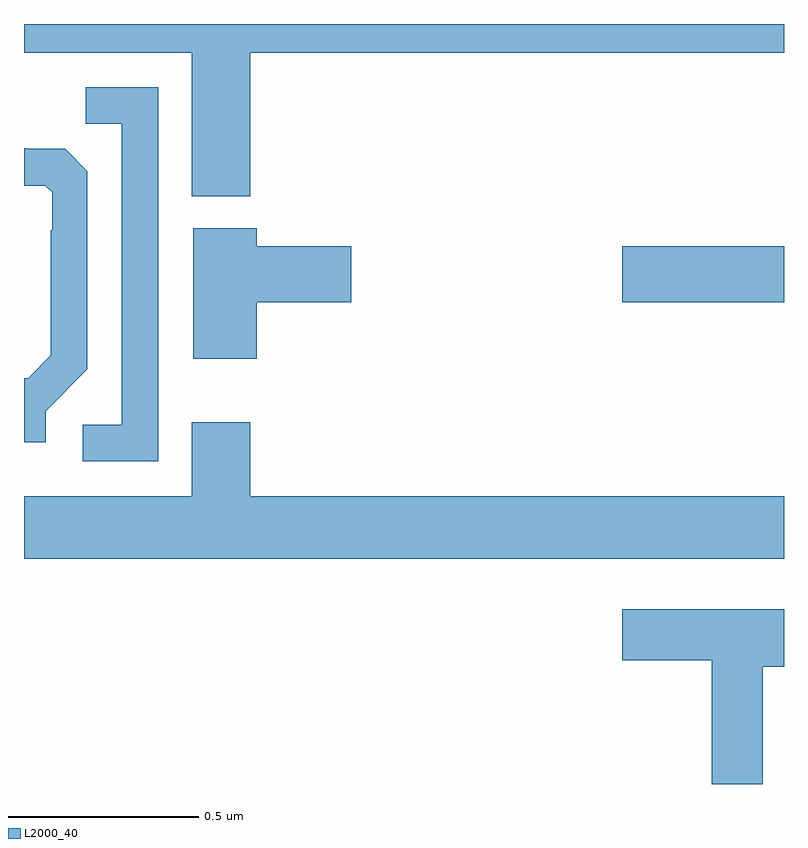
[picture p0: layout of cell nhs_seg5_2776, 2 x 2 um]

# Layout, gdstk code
import gdstk
lib = gdstk.Library(unit=1e-6, precision=1e-09)
def R(c, l, rs):  # rectangles x0, y0, x1, y1
    for r in rs: c.add(gdstk.rectangle(r[:2], r[2:], *l))
def P(c, l, *ps):  # polygons
    for p in ps: c.add(gdstk.Polygon(p, *l))
L2000_40 = (2000, 40)

nhs_seg5_2776 = lib.new_cell('nhs_seg5_2776')
R(nhs_seg5_2776, L2000_40, [(149.574,892.067,150,892.214)])
P(nhs_seg5_2776, L2000_40, [(148.595,892.724),(150,892.724),(150,892.799),(148,892.799),(148,892.724),(148.442,892.724),(148.442,892.346),(148.595,892.346)],
  [(148.353,892.632),(148.162,892.632),(148.162,892.537),(148.257,892.537),(148.257,891.744),(148.155,891.744),(148.155,891.648),(148.353,891.648)],
  [(148.057,891.78),(148.167,891.89),(148.167,892.412),(148.108,892.471),(148.007,892.471),(148.007,892.472),(148,892.472),(148,892.374),(148.056,892.374),(148.074,892.356),(148.074,892.256),(148.071,892.256),(148.071,891.927),(148.011,891.867),(148,891.867),(148,891.698),(148.057,891.698)],
  [(148.612,892.067),(148.861,892.067),(148.861,892.214),(148.612,892.214),(148.612,892.261),(148.445,892.261),(148.445,891.918),(148.612,891.918)],
  [(150,891.556),(148.595,891.556),(148.595,891.751),(148.442,891.751),(148.442,891.556),(148,891.556),(148,891.392),(150,891.392)],
  [(149.944,891.107),(150,891.107),(150,891.259),(149.574,891.259),(149.574,891.125),(149.81,891.125),(149.81,890.799),(149.944,890.799)])

lib.write_gds('nhs_seg5_2776.gds')
